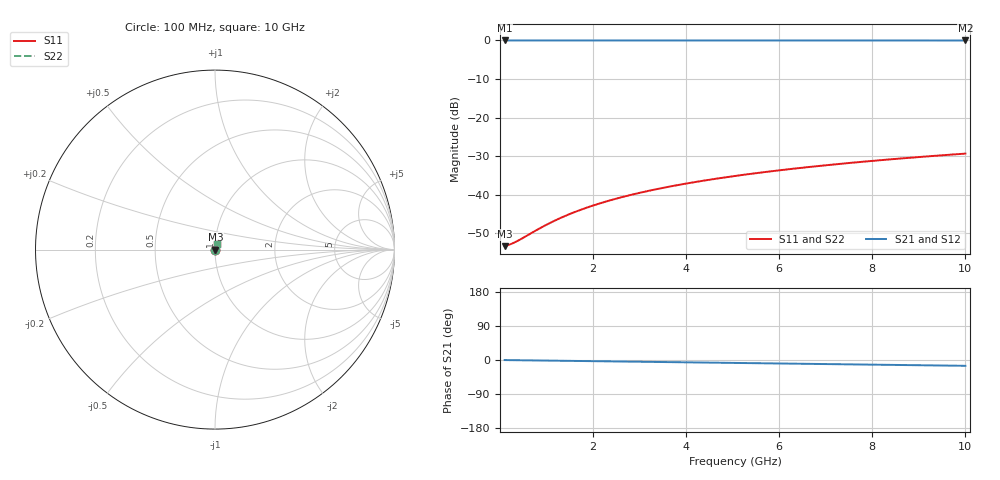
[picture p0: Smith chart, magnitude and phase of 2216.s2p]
# Hz S RI R 50.00
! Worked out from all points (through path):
!   100 points, 100 MHz to 10 GHz, reference 50 ohm
!   highest |S21| = -0.02 dB at 100 MHz (marker M1); lowest = 0.0 dB at 10 GHz (marker M2)
!   group delay of S21, straight-line fit = 4.26 ps
!   lowest |S11| = -53.3 dB at 100 MHz (marker M3), VSWR 1.00, Z = 50.2 + j0.0341 ohm
!   |S11| at or under -10 dB: start of sweep to end of sweep
!   |S22| runs from -53.3 to -29.3 dB; largest |S21 - S12| = 0
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1e8  0.00213 0.00034  0.9979 -0.00266  0.9979 -0.00266  0.00213 0.00034
2e8  0.00214 0.000679  0.9978 -0.00533  0.9978 -0.00533  0.00214 0.000679
3e8  0.00216 0.00102  0.9978 -0.00799  0.9978 -0.00799  0.00216 0.00102
4e8  0.00217 0.00136  0.9978 -0.0107  0.9978 -0.0107  0.00217 0.00136
9e8  0.00226 0.00305  0.9975 -0.024  0.9975 -0.024  0.00226 0.00305
1.2e9  0.00232 0.00407  0.9973 -0.032  0.9973 -0.032  0.00232 0.00407
1.5e9  0.0024 0.00508  0.997 -0.04  0.997 -0.04  0.0024 0.00508
1.8e9  0.0025 0.00609  0.9966 -0.048  0.9966 -0.048  0.0025 0.00609
2.1e9  0.00261 0.00711  0.9961 -0.0559  0.9961 -0.0559  0.00261 0.00711
2.5e9  0.00279 0.00845  0.9955 -0.0666  0.9955 -0.0666  0.00279 0.00845
2.9e9  0.00299 0.00979  0.9947 -0.0772  0.9947 -0.0772  0.00299 0.00979
3.4e9  0.00328 0.0115  0.9935 -0.0905  0.9935 -0.0905  0.00328 0.0115
3.8e9  0.00355 0.0128  0.9925 -0.1011  0.9925 -0.1011  0.00355 0.0128
4.2e9  0.00384 0.0141  0.9913 -0.1117  0.9913 -0.1117  0.00384 0.0141
4.6e9  0.00417 0.0154  0.99 -0.1223  0.99 -0.1223  0.00417 0.0154
5.1e9  0.00461 0.0171  0.9882 -0.1356  0.9882 -0.1356  0.00461 0.0171
5.9e9  0.00541 0.0196  0.985 -0.1567  0.985 -0.1567  0.00541 0.0196
6.7e9  0.00632 0.0222  0.9813 -0.1778  0.9813 -0.1778  0.00632 0.0222
7.5e9  0.00734 0.0247  0.9772 -0.1988  0.9772 -0.1988  0.00734 0.0247
8.4e9  0.00861 0.0275  0.972 -0.2223  0.972 -0.2223  0.00861 0.0275
9.2e9  0.00985 0.0299  0.9669 -0.2431  0.9669 -0.2431  0.00985 0.0299
1e10  0.0112 0.0322  0.9614 -0.2638  0.9614 -0.2638  0.0112 0.0322
